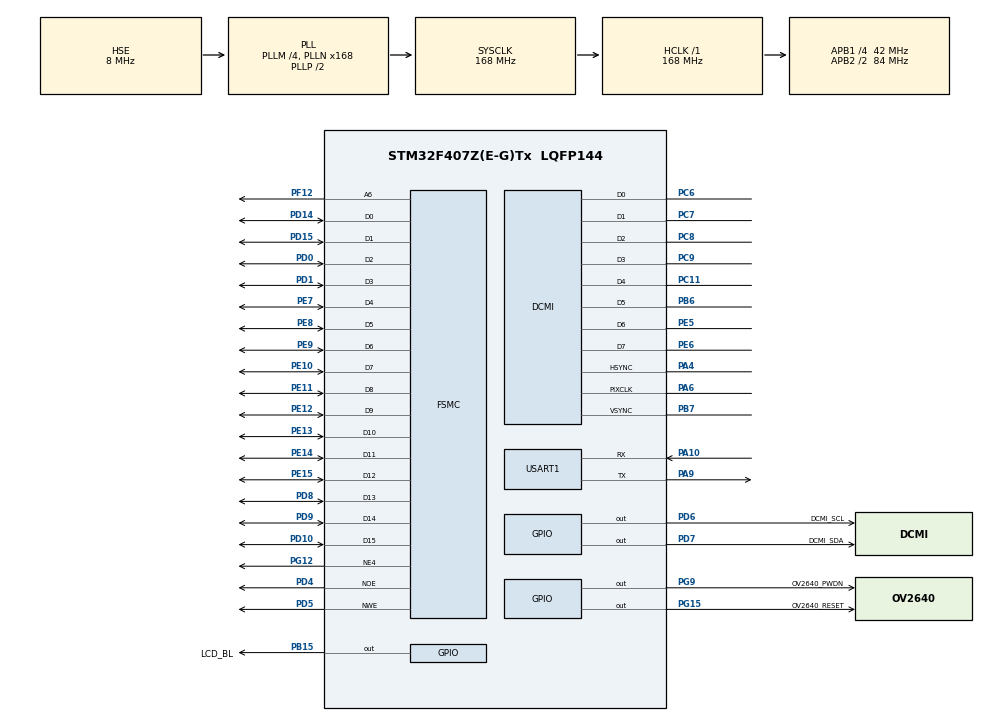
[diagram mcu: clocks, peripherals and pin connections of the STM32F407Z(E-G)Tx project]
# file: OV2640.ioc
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DCMI.JPEGMode=DCMI_JPEG_ENABLE
DCMI.PCKPolarity=DCMI_PCKPOLARITY_RISING
Dma.DCMI.0.Direction=DMA_PERIPH_TO_MEMORY
Dma.DCMI.0.FIFOMode=DMA_FIFOMODE_ENABLE
Dma.DCMI.0.FIFOThreshold=DMA_FIFO_THRESHOLD_HALFFULL
Dma.DCMI.0.Instance=DMA2_Stream1
Dma.DCMI.0.MemBurst=DMA_MBURST_SINGLE
Dma.DCMI.0.MemDataAlignment=DMA_MDATAALIGN_WORD
Dma.DCMI.0.MemInc=DMA_MINC_ENABLE
Dma.DCMI.0.Mode=DMA_CIRCULAR
Dma.DCMI.0.PeriphBurst=DMA_PBURST_SINGLE
Dma.DCMI.0.PeriphDataAlignment=DMA_PDATAALIGN_WORD
Dma.DCMI.0.PeriphInc=DMA_PINC_DISABLE
Dma.DCMI.0.Priority=DMA_PRIORITY_LOW
Dma.Request0=DCMI
FSMC.BusTurnAroundDuration1=0
FSMC.DataSetupTime1=60
FSMC.ExtendedAddressSetupTime1=9
FSMC.ExtendedBusTurnAroundDuration1=0
FSMC.ExtendedDataSetupTime1=8
FSMC.ExtendedMode1=FSMC_EXTENDED_MODE_ENABLE
Mcu.Family=STM32F4
Mcu.Name=STM32F407Z(E-G)Tx
Mcu.Package=LQFP144
NVIC.DCMI_IRQn=true\:0\:0\:false\:false\:true\:true\:true
NVIC.DMA2_Stream1_IRQn=true\:0\:0\:false\:false\:true\:false\:true
NVIC.PriorityGroup=NVIC_PRIORITYGROUP_4
PA10.Mode=Asynchronous
PA10.Signal=USART1_RX
PA13.Mode=Serial_Wire
PA13.Signal=SYS_JTMS-SWDIO
PA14.Mode=Serial_Wire
PA14.Signal=SYS_JTCK-SWCLK
PA4.GPIO_Mode=GPIO_MODE_AF_PP
PA4.GPIO_PuPd=GPIO_PULLUP
PA4.GPIO_Speed=GPIO_SPEED_FREQ_VERY_HIGH
PA4.Mode=Slave_8_bits_External_Synchro
PA4.Signal=DCMI_HSYNC
PA6.GPIO_Mode=GPIO_MODE_AF_PP
PA6.GPIO_PuPd=GPIO_PULLUP
PA6.GPIO_Speed=GPIO_SPEED_FREQ_VERY_HIGH
PA6.Mode=Slave_8_bits_External_Synchro
PA6.Signal=DCMI_PIXCLK
PA9.Mode=Asynchronous
PA9.Signal=USART1_TX
PB15.GPIO_Label=LCD_BL
PB15.GPIO_PuPd=GPIO_PULLUP
PB15.GPIO_Speed=GPIO_SPEED_FREQ_HIGH
PB15.Signal=GPIO_Output
PB6.GPIO_Mode=GPIO_MODE_AF_PP
PB6.GPIO_PuPd=GPIO_PULLUP
PB6.GPIO_Speed=GPIO_SPEED_FREQ_VERY_HIGH
PB6.Mode=Slave_8_bits_External_Synchro
PB6.Signal=DCMI_D5
PB7.GPIO_Mode=GPIO_MODE_AF_PP
PB7.GPIO_PuPd=GPIO_PULLUP
PB7.GPIO_Speed=GPIO_SPEED_FREQ_VERY_HIGH
PB7.Mode=Slave_8_bits_External_Synchro
PB7.Signal=DCMI_VSYNC
PC11.GPIO_Mode=GPIO_MODE_AF_PP
PC11.GPIO_PuPd=GPIO_PULLUP
PC11.GPIO_Speed=GPIO_SPEED_FREQ_VERY_HIGH
PC11.Mode=Slave_8_bits_External_Synchro
PC11.Signal=DCMI_D4
PC6.GPIO_Mode=GPIO_MODE_AF_PP
PC6.GPIO_PuPd=GPIO_PULLUP
PC6.GPIO_Speed=GPIO_SPEED_FREQ_VERY_HIGH
PC6.Mode=Slave_8_bits_External_Synchro
PC6.Signal=DCMI_D0
PC7.GPIO_Mode=GPIO_MODE_AF_PP
PC7.GPIO_PuPd=GPIO_PULLUP
PC7.GPIO_Speed=GPIO_SPEED_FREQ_VERY_HIGH
PC7.Mode=Slave_8_bits_External_Synchro
PC7.Signal=DCMI_D1
PC8.GPIO_Mode=GPIO_MODE_AF_PP
PC8.GPIO_PuPd=GPIO_PULLUP
PC8.GPIO_Speed=GPIO_SPEED_FREQ_VERY_HIGH
PC8.Mode=Slave_8_bits_External_Synchro
PC8.Signal=DCMI_D2
PC9.GPIO_Mode=GPIO_MODE_AF_PP
PC9.GPIO_PuPd=GPIO_PULLUP
PC9.GPIO_Speed=GPIO_SPEED_FREQ_VERY_HIGH
PC9.Mode=Slave_8_bits_External_Synchro
PC9.Signal=DCMI_D3
PD0.Signal=FSMC_D2_DA2
PD1.Signal=FSMC_D3_DA3
PD10.Signal=FSMC_D15_DA15
PD14.Signal=FSMC_D0_DA0
PD15.Signal=FSMC_D1_DA1
PD4.Signal=FSMC_NOE
PD5.Signal=FSMC_NWE
PD6.GPIO_Label=DCMI_SCL
PD6.GPIO_PuPd=GPIO_PULLUP
PD6.GPIO_Speed=GPIO_SPEED_FREQ_HIGH
PD6.PinState=GPIO_PIN_SET
PD6.Signal=GPIO_Output
PD7.GPIO_Label=DCMI_SDA
PD7.GPIO_ModeDefaultOutputPP=GPIO_MODE_OUTPUT_PP
PD7.GPIO_PuPd=GPIO_PULLUP
PD7.GPIO_Speed=GPIO_SPEED_FREQ_HIGH
PD7.PinState=GPIO_PIN_SET
PD7.Signal=GPIO_Output
PD8.Signal=FSMC_D13_DA13
PD9.Signal=FSMC_D14_DA14
PE10.Signal=FSMC_D7_DA7
PE11.Signal=FSMC_D8_DA8
PE12.Signal=FSMC_D9_DA9
PE13.Signal=FSMC_D10_DA10
PE14.Signal=FSMC_D11_DA11
PE15.Signal=FSMC_D12_DA12
PE5.GPIO_Mode=GPIO_MODE_AF_PP
PE5.GPIO_PuPd=GPIO_PULLUP
PE5.GPIO_Speed=GPIO_SPEED_FREQ_VERY_HIGH
PE5.Mode=Slave_8_bits_External_Synchro
PE5.Signal=DCMI_D6
PE6.GPIO_Mode=GPIO_MODE_AF_PP
PE6.GPIO_PuPd=GPIO_PULLUP
PE6.GPIO_Speed=GPIO_SPEED_FREQ_VERY_HIGH
PE6.Mode=Slave_8_bits_External_Synchro
PE6.Signal=DCMI_D7
PE7.Signal=FSMC_D4_DA4
PE8.Signal=FSMC_D5_DA5
PE9.Signal=FSMC_D6_DA6
PF12.Signal=FSMC_A6
PG12.Mode=NorPsramChipSelect4_1
PG12.Signal=FSMC_NE4
PG15.GPIO_Label=OV2640_RESET
PG15.GPIO_ModeDefaultOutputPP=GPIO_MODE_OUTPUT_PP
PG15.GPIO_PuPd=GPIO_PULLUP
PG15.GPIO_Speed=GPIO_SPEED_FREQ_HIGH
PG15.PinState=GPIO_PIN_SET
PG15.Signal=GPIO_Output
PG9.GPIO_Label=OV2640_PWDN
PG9.GPIO_ModeDefaultOutputPP=GPIO_MODE_OUTPUT_PP
PG9.GPIO_PuPd=GPIO_PULLUP
PG9.GPIO_Speed=GPIO_SPEED_FREQ_HIGH
PG9.PinState=GPIO_PIN_SET
PG9.Signal=GPIO_Output
PH0-OSC_IN.Mode=HSE-External-Oscillator
PH0-OSC_IN.Signal=RCC_OSC_IN
PH1-OSC_OUT.Mode=HSE-External-Oscillator
PH1-OSC_OUT.Signal=RCC_OSC_OUT
ProjectManager.HeapSize=0x200
ProjectManager.StackSize=0x400
ProjectManager.TargetToolchain=MDK-ARM V5.27
RCC.48MHZClocksFreq_Value=84000000
RCC.AHBFreq_Value=168000000
RCC.APB1CLKDivider=RCC_HCLK_DIV4
RCC.APB1Freq_Value=42000000
RCC.APB1TimFreq_Value=84000000
RCC.APB2CLKDivider=RCC_HCLK_DIV2
RCC.APB2Freq_Value=84000000
RCC.APB2TimFreq_Value=168000000
RCC.CortexFreq_Value=168000000
RCC.HCLKFreq_Value=168000000
RCC.HSE_VALUE=8000000
RCC.HSI_VALUE=16000000
RCC.LSE_VALUE=32768
RCC.PLLM=4
RCC.PLLN=168
RCC.PLLSourceVirtual=RCC_PLLSOURCE_HSE
RCC.SYSCLKFreq_VALUE=168000000
RCC.SYSCLKSource=RCC_SYSCLKSOURCE_PLLCLK
RCC.VCOOutputFreq_Value=336000000
SH.FSMC_A6.0=FSMC_A6,A6_1
SH.FSMC_D0_DA0.0=FSMC_D0,16b-d1
SH.FSMC_D10_DA10.0=FSMC_D10,16b-d1
SH.FSMC_D11_DA11.0=FSMC_D11,16b-d1
SH.FSMC_D12_DA12.0=FSMC_D12,16b-d1
SH.FSMC_D13_DA13.0=FSMC_D13,16b-d1
SH.FSMC_D14_DA14.0=FSMC_D14,16b-d1
SH.FSMC_D15_DA15.0=FSMC_D15,16b-d1
SH.FSMC_D1_DA1.0=FSMC_D1,16b-d1
SH.FSMC_D2_DA2.0=FSMC_D2,16b-d1
SH.FSMC_D3_DA3.0=FSMC_D3,16b-d1
SH.FSMC_D4_DA4.0=FSMC_D4,16b-d1
SH.FSMC_D5_DA5.0=FSMC_D5,16b-d1
SH.FSMC_D6_DA6.0=FSMC_D6,16b-d1
SH.FSMC_D7_DA7.0=FSMC_D7,16b-d1
SH.FSMC_D8_DA8.0=FSMC_D8,16b-d1
SH.FSMC_D9_DA9.0=FSMC_D9,16b-d1
SH.FSMC_NOE.0=FSMC_NOE,Lcd1
SH.FSMC_NWE.0=FSMC_NWE,Lcd1
TIM7.Period=1
TIM7.Prescaler=84-1
USART1.VirtualMode=VM_ASYNC
VP_TIM7_VS_ClockSourceINT.Mode=Enable_Timer
board=custom

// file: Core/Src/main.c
/* USER CODE BEGIN Header */
/**
  ******************************************************************************
  * @file           : main.c
  * @brief          : Main program body
  ******************************************************************************
  * @attention
  *
  * <h2><center>&copy; Copyright (c) 2021 STMicroelectronics.
  * All rights reserved.</center></h2>
  *
  * This software component is licensed by ST under BSD 3-Clause license,
  * the "License"; You may not use this file except in compliance with the
  * License. You may obtain a copy of the License at:
  *                        opensource.org/licenses/BSD-3-Clause
  *
  ******************************************************************************
  */
/* USER CODE END Header */
#include "main.h"
#include "dcmi.h"
#include "dma.h"
#include "tim.h"
#include "usart.h"
#include "gpio.h"
#include "fsmc.h"

/* USER CODE BEGIN Includes */
#include <ov2640.h>
#include <ILI93xx.h>
#include "stdio.h"
#include <stdlib.h>
/* USER CODE END Includes */

/* USER CODE BEGIN PV */
unsigned char Show_LCDWord[64];//用于存储准备在LCD上显示的字符串
_lcd_dev tftlcd_data;
DCMI_HandleTypeDef hdcmi_main;
DMA_HandleTypeDef hdma_dcmi_main;
/* USER CODE END PV */

void SystemClock_Config(void);
/* USER CODE BEGIN PFP */
//重写fputc函数，目的是让printf函数能顺利运行
int fputc(int c, FILE *stream)
{
 /*
    huart1是工具生成代码定义的UART1结构体，
    如果以后要使用其他串口打印，只需要把这个结构体改成其他UART结构体。
*/
    HAL_UART_Transmit(&huart1, (unsigned char *)&c, 1, 1000);
    return 1;
}
/* USER CODE END PFP */

#define lenrgbbuff (240*240)
uint16_t buffrgb[lenrgbbuff];
int main(void)
{

  /* MCU Configuration--------------------------------------------------------*/

  /* Reset of all peripherals, Initializes the Flash interface and the Systick. */
  HAL_Init();

  /* Configure the system clock */
  SystemClock_Config();

  /* Initialize all configured peripherals */
  MX_GPIO_Init();
  MX_DMA_Init();
  MX_DCMI_Init();
  MX_TIM7_Init();
  MX_FSMC_Init();
  MX_USART1_UART_Init();
  /* USER CODE BEGIN 2 */
  TFTLCD_Init();	//初始化LCD
  LCD_Clear(WHITE);	//初始化后清屏并显示白屏
  LCD_ShowString(30,40,210,24,24,"Initialization is complete");

  while(OV2640_Init())//初始化OV2640
	{
		LCD_ShowString(30,130,240,16,16,"OV2640 ERR");
		HAL_Delay(200);
	    LCD_Fill(30,130,239,170,WHITE);
		HAL_Delay(200);
	}

  	LCD_ShowString(30,130,200,16,16,"OV2640 OK");

    OV2640_RGB565_Mode();	//RGB565模式
    OV2640_OutSize_Set(240,240);
		OV2640_ImageWin_Set(0,0,600,600);//1:1真实尺寸
    MX_DCMI_Init();
    DCMI_DMA_Init((uint32_t)(&buffrgb[0]),0,lenrgbbuff,DMA_MDATAALIGN_HALFWORD,DMA_MINC_ENABLE);//DCMI DMA配置,MCU屏,竖屏
    //DCMI_Start();             //启动传输
    //HAL_DCMI_Start_DMA(&hdcmi,DCMI_MODE_SNAPSHOT,(uint32_t)(&buffrgb),lenrgbbuff);        //DCMI启动DMA通道
    /* USER CODE END 2 */
		HAL_Delay(2000);

		//LCD_Color_Fill(0,0,120,120,(uint16_t *)buffrgb);
  /* Infinite loop */
  /* USER CODE BEGIN WHILE */

  while (1)
  {
     HAL_DCMI_Start_DMA(&hdcmi,DCMI_MODE_SNAPSHOT,(uint32_t)(&buffrgb),lenrgbbuff);        //DCMI启动DMA通道
    /* USER CODE END WHILE */
		HAL_Delay(10);
  }
}

void SystemClock_Config(void)
{
  RCC_OscInitTypeDef RCC_OscInitStruct = {0};
  RCC_ClkInitTypeDef RCC_ClkInitStruct = {0};

  /** Configure the main internal regulator output voltage
  */
  __HAL_RCC_PWR_CLK_ENABLE();
  __HAL_PWR_VOLTAGESCALING_CONFIG(PWR_REGULATOR_VOLTAGE_SCALE1);
  /** Initializes the RCC Oscillators according to the specified parameters
  * in the RCC_OscInitTypeDef structure.
  */
  RCC_OscInitStruct.OscillatorType = RCC_OSCILLATORTYPE_HSE;
  RCC_OscInitStruct.HSEState = RCC_HSE_ON;
  RCC_OscInitStruct.PLL.PLLState = RCC_PLL_ON;
  RCC_OscInitStruct.PLL.PLLSource = RCC_PLLSOURCE_HSE;
  RCC_OscInitStruct.PLL.PLLM = 4;
  RCC_OscInitStruct.PLL.PLLN = 168;
  RCC_OscInitStruct.PLL.PLLP = RCC_PLLP_DIV2;
  RCC_OscInitStruct.PLL.PLLQ = 4;
  if (HAL_RCC_OscConfig(&RCC_OscInitStruct) != HAL_OK)
  {
    Error_Handler();
  }
  /** Initializes the CPU, AHB and APB buses clocks
  */
  RCC_ClkInitStruct.ClockType = RCC_CLOCKTYPE_HCLK|RCC_CLOCKTYPE_SYSCLK
                              |RCC_CLOCKTYPE_PCLK1|RCC_CLOCKTYPE_PCLK2;
  RCC_ClkInitStruct.SYSCLKSource = RCC_SYSCLKSOURCE_PLLCLK;
  RCC_ClkInitStruct.AHBCLKDivider = RCC_SYSCLK_DIV1;
  RCC_ClkInitStruct.APB1CLKDivider = RCC_HCLK_DIV4;
  RCC_ClkInitStruct.APB2CLKDivider = RCC_HCLK_DIV2;

  if (HAL_RCC_ClockConfig(&RCC_ClkInitStruct, FLASH_LATENCY_5) != HAL_OK)
  {
    Error_Handler();
  }
}

void Error_Handler(void)
{
}

/************************ (C) COPYRIGHT STMicroelectronics *****END OF FILE****/
